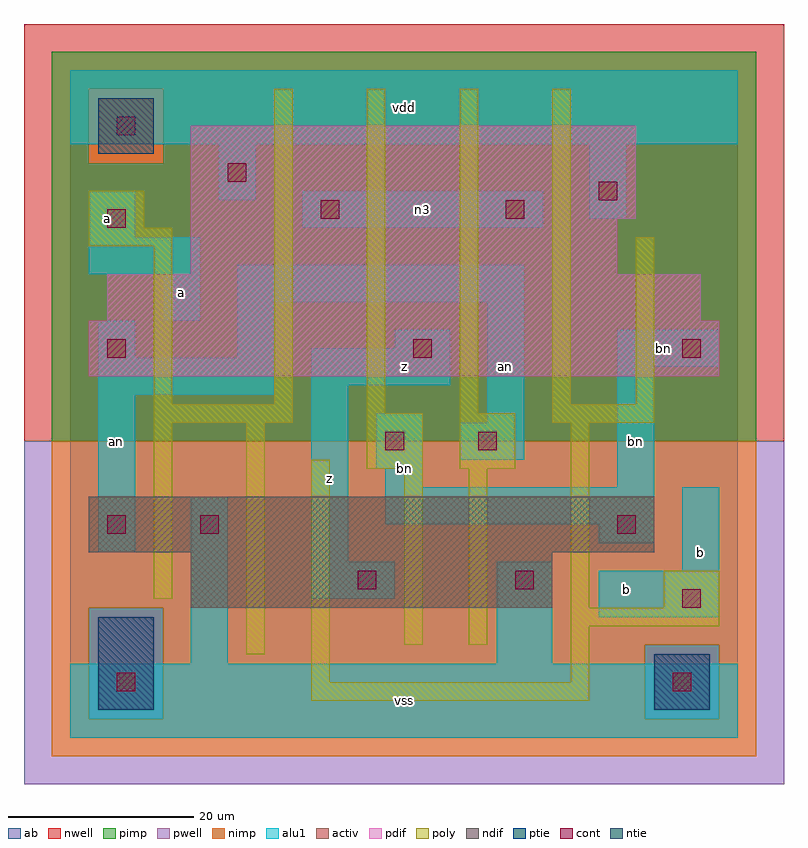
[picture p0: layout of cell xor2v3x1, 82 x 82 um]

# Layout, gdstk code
import gdstk
lib = gdstk.Library(unit=1e-6, precision=1e-09)
def R(c, l, rs):  # rectangles x0, y0, x1, y1
    for r in rs: c.add(gdstk.rectangle(r[:2], r[2:], *l))
ndif = (3, 0)
pdif = (4, 0)
ntie = (5, 0)
ptie = (6, 0)
cont = (25, 0)
pwell = (41, 0)
nwell = (42, 0)
activ = (43, 0)
pimp = (44, 0)
nimp = (45, 0)
poly = (46, 0)
alu1 = (49, 0)
ab = (63, 0)

xor2v3x1 = lib.new_cell('xor2v3x1')
R(xor2v3x1, ndif, [(13,14,52,20), (2,20,63,26)])
R(xor2v3x1, pdif, [(2,39,70,45), (4,45,68,50), (13,50,59,56), (13,56,61,66)])
R(xor2v3x1, ntie, [(3,63,9,69)])
R(xor2v3x1, ptie, [(3,3,9,13), (63,3,69,9)])
R(xor2v3x1, cont, [(5,5,7,7), (65,5,67,7), (66,14,68,16), (31,16,33,18), (48,16,50,18), (4,22,6,24), (14,22,16,24), (59,22,61,24), (34,31,36,33), (44,31,46,33), (4,41,6,43), (37,41,39,43), (66,41,68,43), (4,55,6,57), (27,56,29,58), (47,56,49,58), (57,58,59,60), (17,60,19,62), (5,65,7,67)])
R(xor2v3x1, pwell, [(-5,-5,77,32)])
R(xor2v3x1, nwell, [(-5,32,77,77)])
R(xor2v3x1, activ, [(3,3,9,13), (63,3,69,9), (13,14,52,20), (2,20,63,26), (2,39,70,45), (4,45,68,50), (13,50,59,56), (13,56,61,66), (3,63,9,69)])
R(xor2v3x1, pimp, [(2,2,10,14), (62,2,70,10), (-2,32,74,62), (-2,62,2,70), (10,62,74,70), (-2,70,74,74)])
R(xor2v3x1, nimp, [(-2,-2,74,2), (-2,2,2,14), (10,2,62,10), (70,2,74,10), (10,10,74,14), (-2,14,74,32), (2,62,10,70)])
R(xor2v3x1, poly, [(26,4,56,6), (26,6,28,30), (54,6,56,12), (19,9,21,34), (36,10,38,29), (43,10,45,29), (54,12,70,14), (54,14,56,34), (64,14,70,18), (9,15,11,34), (32,29,38,35), (42,29,48,35), (9,34,24,36), (52,34,63,36), (32,35,34,70), (42,35,44,70), (9,36,11,53), (22,36,24,70), (52,36,54,70), (61,36,63,54), (2,53,11,55), (2,55,8,59)])
R(xor2v3x1, alu1, [(0,0,72,8), (13,8,17,26), (46,8,52,19), (57,13,70,18), (26,15,35,19), (66,18,70,27), (26,19,30,38), (3,20,7,37), (57,21,63,23), (34,23,63,27), (34,27,38,29), (59,27,63,40), (33,29,38,35), (42,30,49,34), (45,34,49,47), (3,37,22,41), (26,38,41,42), (59,40,70,44), (3,41,7,45), (18,41,22,47), (35,42,41,44), (10,45,14,50), (18,47,49,51), (2,50,14,54), (2,54,7,59), (25,55,51,59), (56,56,60,64), (16,58,20,64), (0,64,72,72)])
R(xor2v3x1, ab, [(0,0,72,72)])
xor2v3x1.add(gdstk.Label('an', (5,32), layer=49, texttype=0))
xor2v3x1.add(gdstk.Label('bn', (36,29), layer=49, texttype=0))
xor2v3x1.add(gdstk.Label('an', (47,40), layer=49, texttype=0))
xor2v3x1.add(gdstk.Label('n3', (38,57), layer=49, texttype=0))
xor2v3x1.add(gdstk.Label('bn', (61,32), layer=49, texttype=0))
xor2v3x1.add(gdstk.Label('bn', (64,42), layer=49, texttype=0))
xor2v3x1.add(gdstk.Label('a', (12,48), layer=49, texttype=0))
xor2v3x1.add(gdstk.Label('a', (4,56), layer=49, texttype=0))
xor2v3x1.add(gdstk.Label('z', (28,28), layer=49, texttype=0))
xor2v3x1.add(gdstk.Label('vss', (36,4), layer=49, texttype=0))
xor2v3x1.add(gdstk.Label('z', (36,40), layer=49, texttype=0))
xor2v3x1.add(gdstk.Label('vdd', (36,68), layer=49, texttype=0))
xor2v3x1.add(gdstk.Label('b', (68,20), layer=49, texttype=0))
xor2v3x1.add(gdstk.Label('b', (60,16), layer=49, texttype=0))

lib.write_gds('xor2v3x1.gds')
